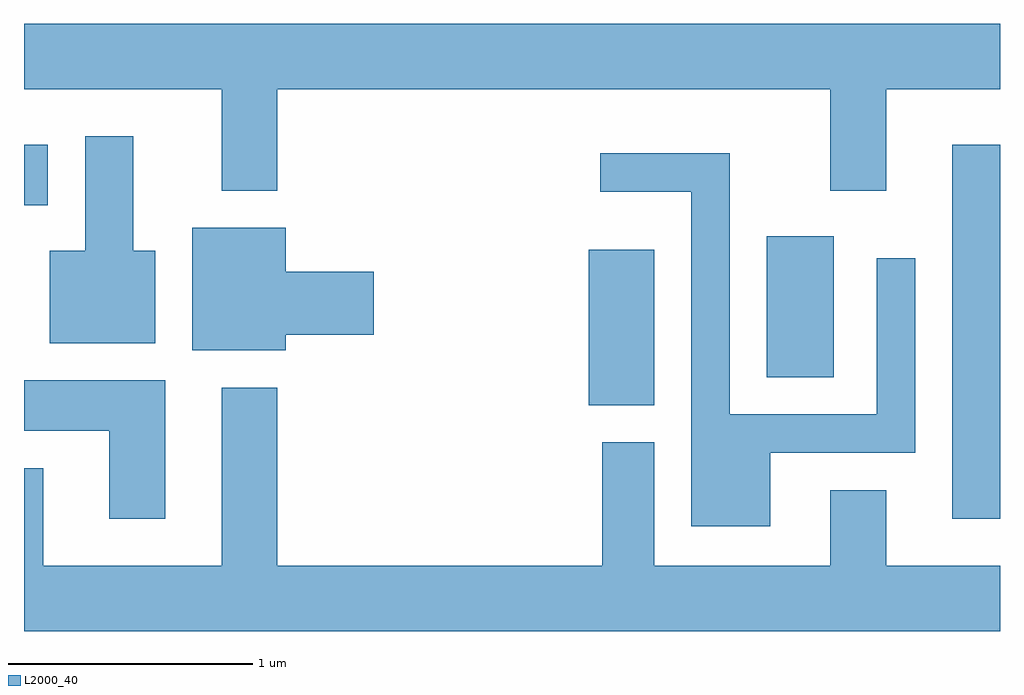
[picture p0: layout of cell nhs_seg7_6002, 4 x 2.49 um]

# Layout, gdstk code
import gdstk
lib = gdstk.Library(unit=1e-6, precision=1e-09)
def R(c, l, rs):  # rectangles x0, y0, x1, y1
    for r in rs: c.add(gdstk.rectangle(r[:2], r[2:], *l))
def P(c, l, *ps):  # polygons
    for p in ps: c.add(gdstk.Polygon(p, *l))
L2000_40 = (2000, 40)

nhs_seg7_6002 = lib.new_cell('nhs_seg7_6002')
R(nhs_seg7_6002, L2000_40, [(371.416,1785.816,371.611,1787.349), (369.926,1786.281,370.194,1786.919), (370.656,1786.396,370.929,1786.974), (367.611,1787.101,367.709,1787.349)])
P(nhs_seg7_6002, L2000_40, [(368.649,1787.576),(370.916,1787.576),(370.916,1787.161),(371.144,1787.161),(371.144,1787.576),(371.611,1787.576),(371.611,1787.844),(367.611,1787.844),(367.611,1787.576),(368.421,1787.576),(368.421,1787.161),(368.649,1787.161)],
  [(368.149,1786.914),(368.059,1786.914),(368.059,1787.384),(367.861,1787.384),(367.861,1786.914),(367.716,1786.914),(367.716,1786.536),(368.149,1786.536)],
  [(370.669,1786.086),(371.264,1786.086),(371.264,1786.883),(371.106,1786.883),(371.106,1786.244),(370.504,1786.244),(370.504,1787.314),(369.973,1787.314),(369.973,1787.156),(370.346,1787.156),(370.346,1785.786),(370.669,1785.786)],
  [(368.684,1786.571),(369.044,1786.571),(369.044,1786.829),(368.684,1786.829),(368.684,1787.009),(368.301,1787.009),(368.301,1786.506),(368.684,1786.506)],
  [(368.189,1786.384),(367.611,1786.384),(367.611,1786.176),(367.961,1786.176),(367.961,1785.816),(368.189,1785.816)],
  [(371.611,1785.624),(371.144,1785.624),(371.144,1785.934),(370.916,1785.934),(370.916,1785.624),(370.194,1785.624),(370.194,1786.129),(369.981,1786.129),(369.981,1785.624),(368.649,1785.624),(368.649,1786.354),(368.421,1786.354),(368.421,1785.624),(367.689,1785.624),(367.689,1786.024),(367.611,1786.024),(367.611,1785.356),(371.611,1785.356)])

lib.write_gds('nhs_seg7_6002.gds')
